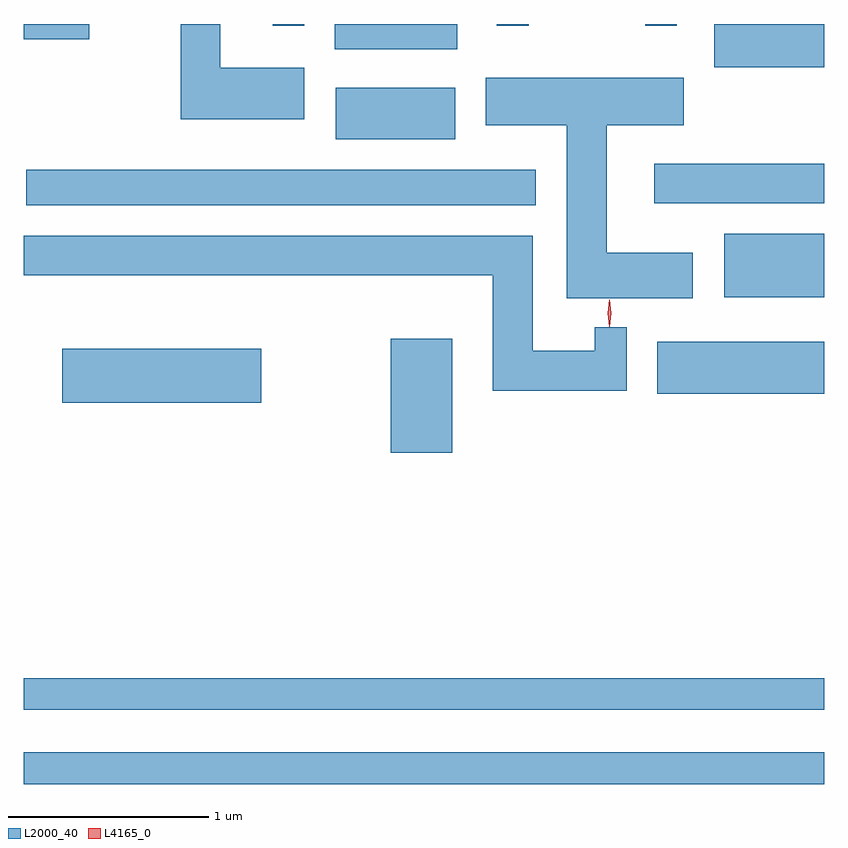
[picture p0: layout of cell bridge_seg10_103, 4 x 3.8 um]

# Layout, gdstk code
import gdstk
lib = gdstk.Library(unit=1e-6, precision=1e-09)
def R(c, l, rs):  # rectangles x0, y0, x1, y1
    for r in rs: c.add(gdstk.rectangle(r[:2], r[2:], *l))
def P(c, l, *ps):  # polygons
    for p in ps: c.add(gdstk.Polygon(p, *l))
L2000_40 = (2000, 40)
L4165_0 = (4165, 0)

bridge_seg10_103 = lib.new_cell('bridge_seg10_103')
R(bridge_seg10_103, L2000_40, [(1628.787,2121.371,1632.787,2121.529), (1628.787,2121.741,1632.787,2121.899), (1630.621,2123.026,1630.929,2123.594), (1628.981,2123.276,1629.974,2123.544), (1631.951,2123.321,1632.787,2123.579), (1632.286,2123.801,1632.787,2124.119), (1628.801,2124.261,1631.344,2124.439), (1631.936,2124.271,1632.787,2124.469), (1630.346,2124.591,1630.944,2124.849), (1632.236,2124.951,1632.787,2125.167), (1630.341,2125.041,1630.954,2125.167), (1628.787,2125.091,1629.114,2125.167), (1630.031,2125.158,1630.189,2125.167), (1631.151,2125.158,1631.309,2125.167), (1631.891,2125.158,1632.049,2125.167)])
P(bridge_seg10_103, L2000_40, [(1630.189,2124.949),(1629.769,2124.949),(1629.769,2125.167),(1629.571,2125.167),(1629.571,2124.691),(1630.189,2124.691)],
  [(1632.129,2124.024),(1631.699,2124.024),(1631.699,2124.661),(1632.084,2124.661),(1632.084,2124.899),(1631.096,2124.899),(1631.096,2124.661),(1631.501,2124.661),(1631.501,2123.796),(1632.129,2123.796)],
  [(1631.799,2123.653),(1631.641,2123.653),(1631.641,2123.534),(1631.329,2123.534),(1631.329,2124.109),(1628.787,2124.109),(1628.787,2123.911),(1631.131,2123.911),(1631.131,2123.336),(1631.799,2123.336)])
P(bridge_seg10_103, L4165_0, [(1631.713,2123.656),(1631.704,2123.723),(1631.713,2123.789),(1631.713,2123.789),(1631.714,2123.789),(1631.723,2123.723),(1631.714,2123.656),(1631.714,2123.656)])

lib.write_gds('bridge_seg10_103.gds')
